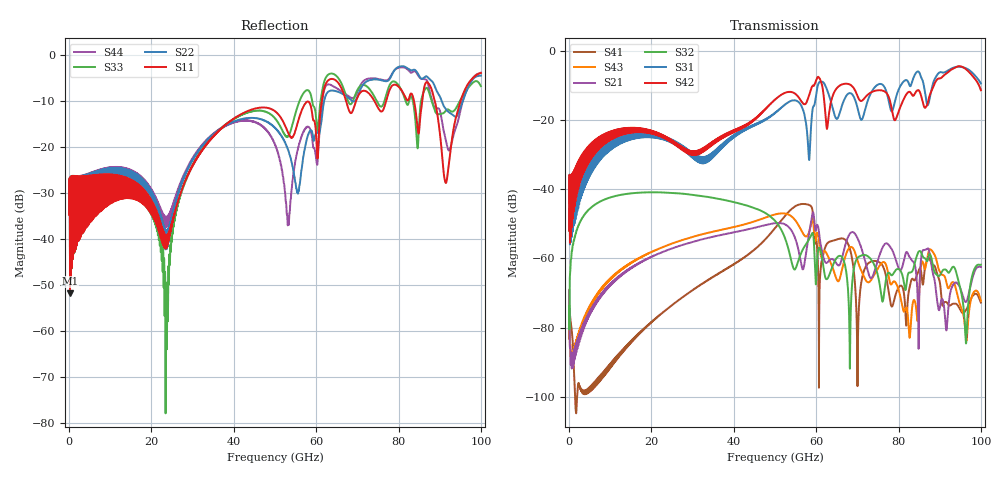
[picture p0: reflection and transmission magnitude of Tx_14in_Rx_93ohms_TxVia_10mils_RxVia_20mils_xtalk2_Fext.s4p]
! Info: Touchstone file created by Circ.  Input file=Tx_14in_Rx_93ohms_TxVia_10mils_RxVia_20mils.circ
# Hz S RI R 50
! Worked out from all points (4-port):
!   10000 points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, 10 MHz to 100 GHz, reference 50 ohm
!   strongest paths, dB at 10 MHz, 25.01 GHz, 50.01 GHz, 75.01 GHz, 100 GHz:
!     S42: -52.0, -25.8, -14.1, -11.4, -11.4
!     S31: -51.9, -25.7, -17.9, -9.8, -9.5
!     S32: -73.8, -41.1, -49.1, -65.0, -61.8
!     S21: -69.2, -57.1, -49.8, -60.4, -62.5
!     S43: -69.2, -55.7, -47.3, -62.8, -72.2
!     S41: -83.2, -73.4, -51.2, -60.9, -72.7
!   lowest |S11| = -51.8 dB at 230 MHz (marker M1), VSWR 1.01, Z = 49.8 - j0.166 ohm
!   |S11| at or under -10 dB: start of sweep to 61.38 GHz; 74.09 GHz to 77.02 GHz (2.929 GHz wide, 3.88 % of centre); 88.79 GHz to 95.1 GHz (6.317 GHz wide, 6.87 % of centre)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
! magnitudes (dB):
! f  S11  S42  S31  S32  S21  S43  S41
! 10 MHz  -34.8  -52.0  -51.9  -73.8  -69.2  -69.2  -83.2
! 230 MHz  -51.8  -48.6  -48.6  -64.5  -85.8  -85.3  -76.5
! 23.63 GHz  -41.3  -24.9  -25.0  -41.0  -57.7  -56.3  -74.8
! 56.67 GHz  -11.7  -15.0  -16.6  -57.6  -63.1  -52.5  -44.3
! 70.08 GHz  -9.2  -13.2  -16.7  -59.8  -54.2  -60.7  -90.9
! 91.48 GHz  -27.9  -6.7  -6.1  -63.3  -79.8  -66.2  -72.6
! 100 GHz  -4.0  -11.4  -9.5  -61.8  -62.5  -72.2  -72.7
